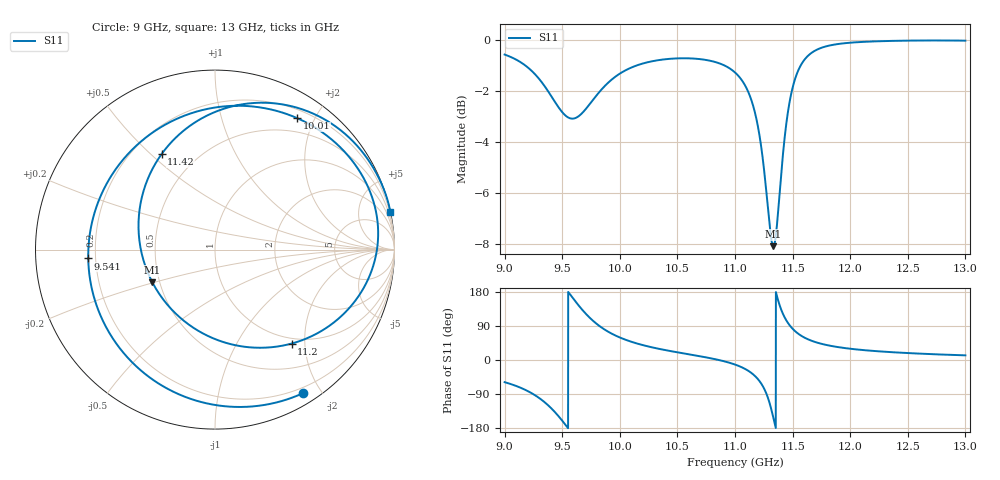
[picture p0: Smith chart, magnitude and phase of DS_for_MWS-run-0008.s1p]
! TOUCHSTONE file generated by CST DESIGN STUDIO
! Date and time: Tue Feb  4 18:21:16 2025
! Project name: C:\Work\MatlabApps\UnitCellOptimizationMatlab\CST\unitcell.cst
! Tree item: Tasks\Sweep1\SPara1\S-Parameters
! Header version: 2024
! Port assignment regex: !\s*Touchstone port\s*([0-9]+)\s*=\s*(CST MWS port|CST DES external port|CST DES block port)\s*(.+)\s* \(\"(.*)\"\)(\s*mode\s*([0-9]+))?.*
! Touchstone port assignment:
! Touchstone port 1 = CST DES external port 1 ("")
# GHz S MA R 50
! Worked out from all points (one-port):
!   4001 points, 9 GHz to 13 GHz, reference 50 ohm
!   lowest |S11| = -8.1 dB at 11.33 GHz (marker M1), VSWR 2.30, Z = 22.8 - j9.81 ohm
!   |S11| at or under -10 dB: nowhere
!   S11 on the Smith chart (normalised r, x): 9 GHz: 0.13, -1.78; 9.541 GHz: 0.17, -0.03; 10.01 GHz: 0.31, +1.76; 11.2 GHz: 0.90, -1.74; 11.42 GHz: 0.32, +0.54; 13 GHz: 0.03, +9.31
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9  0.9383 -58.5
9.151  0.9025 -74.8
9.301  0.8394 -100.5
9.4  0.7803 -125.9
9.5  0.7227 -160.0
9.541  0.708 -176.0
9.628  0.706 149.5
9.747  0.7537 109.2
9.854  0.8066 83.2
10  0.8605 59.4
10.011  0.8636 58.0
10.22  0.9036 37.7
10.5  0.9221 20.3
10.795  0.9111 4.2
11  0.8651 -12.0
11.114  0.7931 -28.2
11.2  0.6754 -50.8
11.272  0.5038 -88.5
11.333  0.3937 -152.5
11.375  0.4623 156.6
11.42  0.6093 119.3
11.458  0.7195 98.6
11.5  0.8074 82.5
11.584  0.9038 62.3
11.683  0.9516 48.8
12  0.99 29.7
12.5  0.9994 18.3
13  0.9992 12.3
